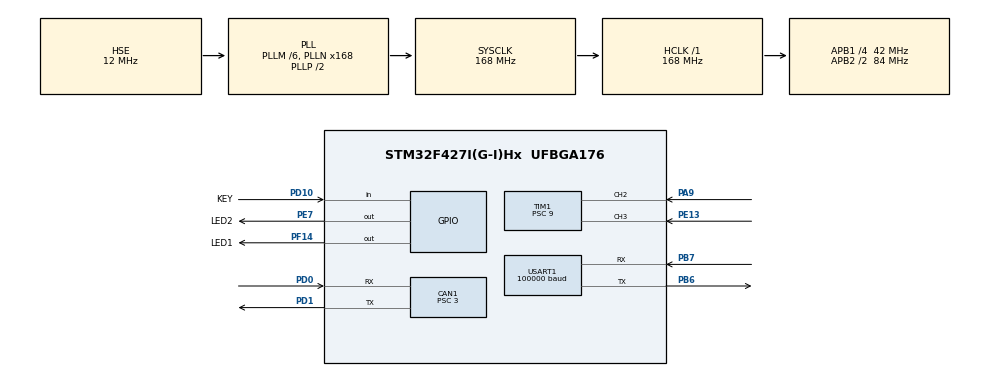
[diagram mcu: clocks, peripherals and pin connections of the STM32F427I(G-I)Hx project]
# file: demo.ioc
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CAN1.ABOM=ENABLE
CAN1.BS1=CAN_BS1_9TQ
CAN1.BS2=CAN_BS2_4TQ
CAN1.CalculateTimeBit=1000
CAN1.CalculateTimeQuantum=71.42857142857143
CAN1.Prescaler=3
CAN1.SJW=CAN_SJW_1TQ
Dma.Request0=USART1_RX
Dma.Request1=TIM1_CH1/CH2/CH3
Dma.TIM1_CH1/CH2/CH3.1.Direction=DMA_PERIPH_TO_MEMORY
Dma.TIM1_CH1/CH2/CH3.1.FIFOMode=DMA_FIFOMODE_DISABLE
Dma.TIM1_CH1/CH2/CH3.1.Instance=DMA2_Stream6
Dma.TIM1_CH1/CH2/CH3.1.MemDataAlignment=DMA_MDATAALIGN_HALFWORD
Dma.TIM1_CH1/CH2/CH3.1.MemInc=DMA_MINC_ENABLE
Dma.TIM1_CH1/CH2/CH3.1.Mode=DMA_CIRCULAR
Dma.TIM1_CH1/CH2/CH3.1.PeriphDataAlignment=DMA_PDATAALIGN_HALFWORD
Dma.TIM1_CH1/CH2/CH3.1.PeriphInc=DMA_PINC_DISABLE
Dma.TIM1_CH1/CH2/CH3.1.Priority=DMA_PRIORITY_LOW
Dma.USART1_RX.0.Direction=DMA_PERIPH_TO_MEMORY
Dma.USART1_RX.0.FIFOMode=DMA_FIFOMODE_DISABLE
Dma.USART1_RX.0.Instance=DMA2_Stream2
Dma.USART1_RX.0.MemDataAlignment=DMA_MDATAALIGN_BYTE
Dma.USART1_RX.0.MemInc=DMA_MINC_ENABLE
Dma.USART1_RX.0.Mode=DMA_NORMAL
Dma.USART1_RX.0.PeriphDataAlignment=DMA_PDATAALIGN_BYTE
Dma.USART1_RX.0.PeriphInc=DMA_PINC_DISABLE
Dma.USART1_RX.0.Priority=DMA_PRIORITY_LOW
Mcu.Family=STM32F4
Mcu.Name=STM32F427I(G-I)Hx
Mcu.Package=UFBGA176
NVIC.CAN1_RX0_IRQn=true\:0\:0\:false\:false\:true\:true
NVIC.CAN1_TX_IRQn=true\:0\:0\:false\:false\:true\:true
NVIC.DMA2_Stream2_IRQn=true\:0\:0\:false\:false\:true\:true
NVIC.DMA2_Stream6_IRQn=true\:0\:0\:false\:false\:true\:false
NVIC.PriorityGroup=NVIC_PRIORITYGROUP_4
NVIC.TIM6_DAC_IRQn=true\:0\:0\:false\:false\:true\:true
NVIC.TimeBase=TIM6_DAC_IRQn
NVIC.TimeBaseIP=TIM6
NVIC.USART1_IRQn=true\:0\:0\:false\:false\:true\:true
PA13.Mode=Serial_Wire
PA13.Signal=SYS_JTMS-SWDIO
PA14.Mode=Serial_Wire
PA14.Signal=SYS_JTCK-SWCLK
PA9.Signal=S_TIM1_CH2
PB6.Mode=Asynchronous
PB6.Signal=USART1_TX
PB7.Mode=Asynchronous
PB7.Signal=USART1_RX
PD0.Mode=Master
PD0.Signal=CAN1_RX
PD1.Mode=Master
PD1.Signal=CAN1_TX
PD10.GPIO_Label=KEY
PD10.Signal=GPIO_Input
PE13.Signal=S_TIM1_CH3
PE7.GPIO_Label=LED2
PE7.Signal=GPIO_Output
PF14.GPIO_Label=LED1
PF14.Signal=GPIO_Output
PH0/OSC_IN.Mode=HSE-External-Oscillator
PH0/OSC_IN.Signal=RCC_OSC_IN
PH1/OSC_OUT.Mode=HSE-External-Oscillator
PH1/OSC_OUT.Signal=RCC_OSC_OUT
ProjectManager.HeapSize=0x200
ProjectManager.StackSize=0x400
ProjectManager.TargetToolchain=MDK-ARM V5
RCC.48MHZClocksFreq_Value=84000000
RCC.AHBFreq_Value=168000000
RCC.APB1CLKDivider=RCC_HCLK_DIV4
RCC.APB1Freq_Value=42000000
RCC.APB1TimFreq_Value=84000000
RCC.APB2CLKDivider=RCC_HCLK_DIV2
RCC.APB2Freq_Value=84000000
RCC.APB2TimFreq_Value=168000000
RCC.CortexFreq_Value=168000000
RCC.HCLKFreq_Value=168000000
RCC.HSE_VALUE=12000000
RCC.HSI_VALUE=16000000
RCC.LSE_VALUE=32768
RCC.PLLM=6
RCC.PLLN=168
RCC.PLLSource=RCC_PLLSOURCE_HSE
RCC.PLLSourceVirtual=RCC_PLLSOURCE_HSE
RCC.PLLSourceVirtualString=RCC_PLLSOURCE_HSE
RCC.SYSCLKFreq_VALUE=168000000
RCC.SYSCLKSource=RCC_SYSCLKSOURCE_PLLCLK
RCC.VCOOutputFreq_Value=336000000
SH.S_TIM1_CH2.0=TIM1_CH2,Input_Capture2_from_TI2
SH.S_TIM1_CH2.1=TIM1_CH2,Input_Capture1_from_TI2
SH.S_TIM1_CH3.0=TIM1_CH3,Input_Capture3_from_TI3
SH.S_TIM1_CH3.1=TIM1_CH3,Input_Capture4_from_TI3
TIM1.Channel-Input_Capture1_from_TI2=TIM_CHANNEL_1
TIM1.Channel-Input_Capture2_from_TI2=TIM_CHANNEL_2
TIM1.Channel-Input_Capture3_from_TI3=TIM_CHANNEL_3
TIM1.Channel-Input_Capture4_from_TI3=TIM_CHANNEL_4
TIM1.ICPolarity_CH2=TIM_INPUTCHANNELPOLARITY_BOTHEDGE
TIM1.Period=9999
TIM1.Prescaler=9
USART1.BaudRate=100000
USART1.Parity=PARITY_EVEN
USART1.VirtualMode=VM_ASYNC
VP_SYS_VS_tim6.Mode=TIM6
board=demo

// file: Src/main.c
/**
  ******************************************************************************
  * File Name          : main.c
  * Description        : Main program body
  ******************************************************************************
  ** This notice applies to any and all portions of this file
  * that are not between comment pairs USER CODE BEGIN and
  * USER CODE END. Other portions of this file, whether
  * inserted by the user or by software development tools
  * are owned by their respective copyright owners.
  *
  * COPYRIGHT(c) 2018 STMicroelectronics
  *
  * Redistribution and use in source and binary forms, with or without modification,
  * are permitted provided that the following conditions are met:
  *   1. Redistributions of source code must retain the above copyright notice,
  *      this list of conditions and the following disclaimer.
  *   2. Redistributions in binary form must reproduce the above copyright notice,
  *      this list of conditions and the following disclaimer in the documentation
  *      and/or other materials provided with the distribution.
  *   3. Neither the name of STMicroelectronics nor the names of its contributors
  *      may be used to endorse or promote products derived from this software
  *      without specific prior written permission.
  *
  * THIS SOFTWARE IS PROVIDED BY THE COPYRIGHT HOLDERS AND CONTRIBUTORS "AS IS"
  * AND ANY EXPRESS OR IMPLIED WARRANTIES, INCLUDING, BUT NOT LIMITED TO, THE
  * IMPLIED WARRANTIES OF MERCHANTABILITY AND FITNESS FOR A PARTICULAR PURPOSE ARE
  * DISCLAIMED. IN NO EVENT SHALL THE COPYRIGHT HOLDER OR CONTRIBUTORS BE LIABLE
  * FOR ANY DIRECT, INDIRECT, INCIDENTAL, SPECIAL, EXEMPLARY, OR CONSEQUENTIAL
  * DAMAGES (INCLUDING, BUT NOT LIMITED TO, PROCUREMENT OF SUBSTITUTE GOODS OR
  * SERVICES; LOSS OF USE, DATA, OR PROFITS; OR BUSINESS INTERRUPTION) HOWEVER
  * CAUSED AND ON ANY THEORY OF LIABILITY, WHETHER IN CONTRACT, STRICT LIABILITY,
  * OR TORT (INCLUDING NEGLIGENCE OR OTHERWISE) ARISING IN ANY WAY OUT OF THE USE
  * OF THIS SOFTWARE, EVEN IF ADVISED OF THE POSSIBILITY OF SUCH DAMAGE.
  *
  ******************************************************************************
  */

#include "main.h"
#include "stm32f4xx_hal.h"
#include "can.h"
#include "dma.h"
#include "tim.h"
#include "usart.h"
#include "gpio.h"

/* USER CODE BEGIN Includes */
#include "bsp_can.h"
#include "pid.h"
#include "Remote_Control.h"
/* USER CODE END Includes */

/* USER CODE BEGIN PV */
/* Private variables ---------------------------------------------------------*/
PID_TypeDef motor_pid[4];
int32_t set_spd = 0;
static int key_sta = 0;
int speed_step_sign = +1;

uint16_t TIM_COUNT[2];
#define SpeedStep 500

/* USER CODE END PV */

void SystemClock_Config(void);

/* USER CODE BEGIN PFP */
/* Private function prototypes -----------------------------------------------*/

/* USER CODE END PFP */

/* USER CODE BEGIN 0 */
void Key_Scan(){

		if(HAL_GPIO_ReadPin(KEY_GPIO_Port,KEY_Pin) == GPIO_PIN_RESET){

			if(key_sta == 0){

				key_sta = 1;

				set_spd += SpeedStep*speed_step_sign;

				if(set_spd>8000)
				{
					speed_step_sign = -1;
				}

				if(set_spd<=0){

					set_spd = 0;
					speed_step_sign = 1;

				}

			}

		}else{

			key_sta = 0;

		}

}

/* USER CODE END 0 */

int main(void)
{

  /* MCU Configuration----------------------------------------------------------*/

  /* Reset of all peripherals, Initializes the Flash interface and the Systick. */
  HAL_Init();

  /* Configure the system clock */
  SystemClock_Config();

  /* Initialize all configured peripherals */
  MX_GPIO_Init();
  MX_DMA_Init();
  MX_CAN1_Init();
  MX_USART1_UART_Init();
  MX_TIM1_Init();

  /* USER CODE BEGIN 2 */
  my_can_filter_init_recv_all(&hcan1);     //配置CAN过滤器
  HAL_CAN_Receive_IT(&hcan1, CAN_FIFO0);   //启动CAN接收中断
  HAL_UART_Receive_IT_IDLE(&huart1,UART_Buffer,100);   //启动串口接收

  HAL_TIM_IC_Start_DMA(&htim1,TIM_CHANNEL_2,(uint32_t *)TIM_COUNT,2);

	/*< 初始化PID参数 >*/
  for(int i=0; i<4; i++)
  {

    pid_init(&motor_pid[i]);
    motor_pid[i].f_param_init(&motor_pid[i],PID_Speed,16384,5000,10,0,8000,0,1.5,0.1,0);

  }

  /* USER CODE END 2 */

  /* Infinite loop */
  /* USER CODE BEGIN WHILE */
  while (1)
  {

    if(HAL_GetTick() - Latest_Remote_Control_Pack_Time >500){   //如果500ms都没有收到遥控器数据，证明遥控器可能已经离线，切换到按键控制模式。
      Key_Scan();
    }else{
      set_spd = remote_control.ch4*8000/660;
    }

    for(int i=0; i<4; i++)
    {
      motor_pid[i].target = set_spd;
      motor_pid[i].f_cal_pid(&motor_pid[i],moto_chassis[i].speed_rpm);    //根据设定值进行PID计算。
    }
    set_moto_current(&hcan1, motor_pid[0].output,   //将PID的计算结果通过CAN发送到电机
                        motor_pid[1].output,
                        motor_pid[2].output,
                        motor_pid[3].output);

    HAL_Delay(10);      //PID控制频率100HZ
  /* USER CODE END WHILE */

  }

}

/** System Clock Configuration
*/
void SystemClock_Config(void)
{

  RCC_OscInitTypeDef RCC_OscInitStruct;
  RCC_ClkInitTypeDef RCC_ClkInitStruct;

    /**Configure the main internal regulator output voltage
    */
  __HAL_RCC_PWR_CLK_ENABLE();

  __HAL_PWR_VOLTAGESCALING_CONFIG(PWR_REGULATOR_VOLTAGE_SCALE1);

    /**Initializes the CPU, AHB and APB busses clocks
    */
  RCC_OscInitStruct.OscillatorType = RCC_OSCILLATORTYPE_HSE;
  RCC_OscInitStruct.HSEState = RCC_HSE_ON;
  RCC_OscInitStruct.PLL.PLLState = RCC_PLL_ON;
  RCC_OscInitStruct.PLL.PLLSource = RCC_PLLSOURCE_HSE;
  RCC_OscInitStruct.PLL.PLLM = 6;
  RCC_OscInitStruct.PLL.PLLN = 168;
  RCC_OscInitStruct.PLL.PLLP = RCC_PLLP_DIV2;
  RCC_OscInitStruct.PLL.PLLQ = 4;
  if (HAL_RCC_OscConfig(&RCC_OscInitStruct) != HAL_OK)
  {
    _Error_Handler(__FILE__, __LINE__);
  }

    /**Initializes the CPU, AHB and APB busses clocks
    */
  RCC_ClkInitStruct.ClockType = RCC_CLOCKTYPE_HCLK|RCC_CLOCKTYPE_SYSCLK
                              |RCC_CLOCKTYPE_PCLK1|RCC_CLOCKTYPE_PCLK2;
  RCC_ClkInitStruct.SYSCLKSource = RCC_SYSCLKSOURCE_PLLCLK;
  RCC_ClkInitStruct.AHBCLKDivider = RCC_SYSCLK_DIV1;
  RCC_ClkInitStruct.APB1CLKDivider = RCC_HCLK_DIV4;
  RCC_ClkInitStruct.APB2CLKDivider = RCC_HCLK_DIV2;

  if (HAL_RCC_ClockConfig(&RCC_ClkInitStruct, FLASH_LATENCY_5) != HAL_OK)
  {
    _Error_Handler(__FILE__, __LINE__);
  }

    /**Configure the Systick interrupt time
    */
  HAL_SYSTICK_Config(HAL_RCC_GetHCLKFreq()/1000);

    /**Configure the Systick
    */
  HAL_SYSTICK_CLKSourceConfig(SYSTICK_CLKSOURCE_HCLK);

  /* SysTick_IRQn interrupt configuration */
  HAL_NVIC_SetPriority(SysTick_IRQn, 0, 0);
}

void HAL_TIM_PeriodElapsedCallback(TIM_HandleTypeDef *htim)
{
  if (htim->Instance == TIM6) {
    HAL_IncTick();
  }
}

void _Error_Handler(char * file, int line)
{
  while(1)
  {
  }
}

/************************ (C) COPYRIGHT STMicroelectronics *****END OF FILE****/
